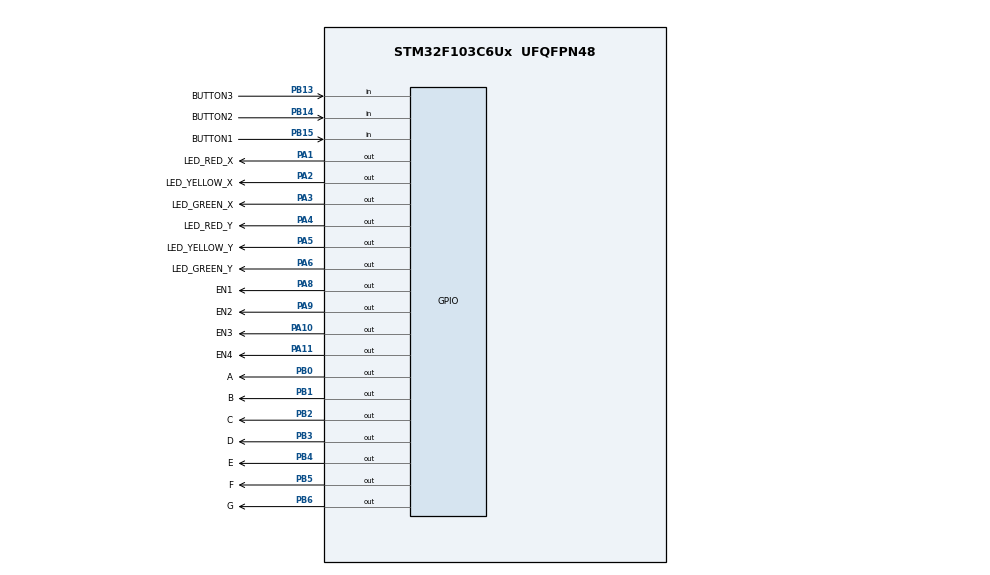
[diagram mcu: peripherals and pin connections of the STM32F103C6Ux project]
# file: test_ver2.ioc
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Mcu.Family=STM32F1
Mcu.Name=STM32F103C6Ux
Mcu.Package=UFQFPN48
NVIC.PriorityGroup=NVIC_PRIORITYGROUP_4
NVIC.TIM2_IRQn=true\:0\:0\:false\:false\:true\:true\:true
PA1.GPIO_Label=LED_RED_X
PA1.Signal=GPIO_Output
PA10.GPIO_Label=EN3
PA10.Signal=GPIO_Output
PA11.GPIO_Label=EN4
PA11.Signal=GPIO_Output
PA2.GPIO_Label=LED_YELLOW_X
PA2.Signal=GPIO_Output
PA3.GPIO_Label=LED_GREEN_X
PA3.Signal=GPIO_Output
PA4.GPIO_Label=LED_RED_Y
PA4.Signal=GPIO_Output
PA5.GPIO_Label=LED_YELLOW_Y
PA5.Signal=GPIO_Output
PA6.GPIO_Label=LED_GREEN_Y
PA6.Signal=GPIO_Output
PA8.GPIO_Label=EN1
PA8.Signal=GPIO_Output
PA9.GPIO_Label=EN2
PA9.Signal=GPIO_Output
PB0.GPIO_Label=A
PB0.Signal=GPIO_Output
PB1.GPIO_Label=B
PB1.Signal=GPIO_Output
PB13.GPIO_Label=BUTTON3
PB13.GPIO_PuPd=GPIO_PULLUP
PB13.Signal=GPIO_Input
PB14.GPIO_Label=BUTTON2
PB14.GPIO_PuPd=GPIO_PULLUP
PB14.Signal=GPIO_Input
PB15.GPIO_Label=BUTTON1
PB15.GPIO_PuPd=GPIO_PULLUP
PB15.Signal=GPIO_Input
PB2.GPIO_Label=C
PB2.Signal=GPIO_Output
PB3.GPIO_Label=D
PB3.Signal=GPIO_Output
PB4.GPIO_Label=E
PB4.Signal=GPIO_Output
PB5.GPIO_Label=F
PB5.Signal=GPIO_Output
PB6.GPIO_Label=G
PB6.Signal=GPIO_Output
ProjectManager.HeapSize=0x200
ProjectManager.StackSize=0x400
ProjectManager.TargetToolchain=STM32CubeIDE
RCC.APB1Freq_Value=8000000
RCC.APB2Freq_Value=8000000
TIM2.Period=10
TIM2.Prescaler=7999
VP_SYS_VS_ND.Mode=No_Debug
VP_TIM2_VS_ClockSourceINT.Mode=Internal
board=custom

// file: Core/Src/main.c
/* USER CODE BEGIN Header */
/**
  ******************************************************************************
  * @file           : main.c
  * @brief          : Main program body
  ******************************************************************************
  * @attention
  *
  * <h2><center>&copy; Copyright (c) 2022 STMicroelectronics.
  * All rights reserved.</center></h2>
  *
  * This software component is licensed by ST under BSD 3-Clause license,
  * the "License"; You may not use this file except in compliance with the
  * License. You may obtain a copy of the License at:
  *                        opensource.org/licenses/BSD-3-Clause
  *
  ******************************************************************************
  */
/* USER CODE END Header */
#include "main.h"

/* USER CODE BEGIN Includes */
#include "softwear.h"
#include "global.h"
#include "button.h"
#include "fsm_automatic.h"
/* USER CODE END Includes */

TIM_HandleTypeDef htim2;

void SystemClock_Config(void);
static void MX_GPIO_Init(void);
static void MX_TIM2_Init(void);

int main(void)
{

  /* MCU Configuration--------------------------------------------------------*/

  /* Reset of all peripherals, Initializes the Flash interface and the Systick. */
  HAL_Init();

  /* Configure the system clock */
  SystemClock_Config();

  /* Initialize all configured peripherals */
  MX_GPIO_Init();
  MX_TIM2_Init();
  /* USER CODE BEGIN 2 */
  HAL_TIM_Base_Start_IT (& htim2 ) ;
  /* USER CODE END 2 */

  /* Infinite loop */
  /* USER CODE BEGIN WHILE */
  status = INIT;
  setTimer3(50);
  int index = 0;
  HAL_GPIO_WritePin(EN1_GPIO_Port, EN1_Pin, RESET);
  HAL_GPIO_WritePin(EN2_GPIO_Port, EN2_Pin, SET);
  HAL_GPIO_WritePin(EN3_GPIO_Port, EN3_Pin, SET);
  HAL_GPIO_WritePin(EN4_GPIO_Port, EN4_Pin, SET);
  while (1)
  {
	  fsm_automatic_run();
	  if(timer3_flag == 1){
		  update7SEG(index++);
		  if(index >= 4){
			  index = 0;
		  }
		  setTimer3(50);
	  }
    /* USER CODE END WHILE */

  }
}

void SystemClock_Config(void)
{
  RCC_OscInitTypeDef RCC_OscInitStruct = {0};
  RCC_ClkInitTypeDef RCC_ClkInitStruct = {0};

  /** Initializes the RCC Oscillators according to the specified parameters
  * in the RCC_OscInitTypeDef structure.
  */
  RCC_OscInitStruct.OscillatorType = RCC_OSCILLATORTYPE_HSI;
  RCC_OscInitStruct.HSIState = RCC_HSI_ON;
  RCC_OscInitStruct.HSICalibrationValue = RCC_HSICALIBRATION_DEFAULT;
  RCC_OscInitStruct.PLL.PLLState = RCC_PLL_NONE;
  if (HAL_RCC_OscConfig(&RCC_OscInitStruct) != HAL_OK)
  {
    Error_Handler();
  }
  /** Initializes the CPU, AHB and APB buses clocks
  */
  RCC_ClkInitStruct.ClockType = RCC_CLOCKTYPE_HCLK|RCC_CLOCKTYPE_SYSCLK
                              |RCC_CLOCKTYPE_PCLK1|RCC_CLOCKTYPE_PCLK2;
  RCC_ClkInitStruct.SYSCLKSource = RCC_SYSCLKSOURCE_HSI;
  RCC_ClkInitStruct.AHBCLKDivider = RCC_SYSCLK_DIV1;
  RCC_ClkInitStruct.APB1CLKDivider = RCC_HCLK_DIV1;
  RCC_ClkInitStruct.APB2CLKDivider = RCC_HCLK_DIV1;

  if (HAL_RCC_ClockConfig(&RCC_ClkInitStruct, FLASH_LATENCY_0) != HAL_OK)
  {
    Error_Handler();
  }
}

static void MX_TIM2_Init(void)
{

  TIM_ClockConfigTypeDef sClockSourceConfig = {0};
  TIM_MasterConfigTypeDef sMasterConfig = {0};

  htim2.Instance = TIM2;
  htim2.Init.Prescaler = 7999;
  htim2.Init.CounterMode = TIM_COUNTERMODE_UP;
  htim2.Init.Period = 10;
  htim2.Init.ClockDivision = TIM_CLOCKDIVISION_DIV1;
  htim2.Init.AutoReloadPreload = TIM_AUTORELOAD_PRELOAD_DISABLE;
  if (HAL_TIM_Base_Init(&htim2) != HAL_OK)
  {
    Error_Handler();
  }
  sClockSourceConfig.ClockSource = TIM_CLOCKSOURCE_INTERNAL;
  if (HAL_TIM_ConfigClockSource(&htim2, &sClockSourceConfig) != HAL_OK)
  {
    Error_Handler();
  }
  sMasterConfig.MasterOutputTrigger = TIM_TRGO_RESET;
  sMasterConfig.MasterSlaveMode = TIM_MASTERSLAVEMODE_DISABLE;
  if (HAL_TIMEx_MasterConfigSynchronization(&htim2, &sMasterConfig) != HAL_OK)
  {
    Error_Handler();
  }

}

static void MX_GPIO_Init(void)
{
  GPIO_InitTypeDef GPIO_InitStruct = {0};

  /* GPIO Ports Clock Enable */
  __HAL_RCC_GPIOA_CLK_ENABLE();
  __HAL_RCC_GPIOB_CLK_ENABLE();

  /*Configure GPIO pin Output Level */
  HAL_GPIO_WritePin(GPIOA, LED_RED_X_Pin|LED_YELLOW_X_Pin|LED_GREEN_X_Pin|LED_RED_Y_Pin
                          |LED_YELLOW_Y_Pin|LED_GREEN_Y_Pin|EN1_Pin|EN2_Pin
                          |EN3_Pin|EN4_Pin, GPIO_PIN_RESET);

  /*Configure GPIO pin Output Level */
  HAL_GPIO_WritePin(GPIOB, A_Pin|B_Pin|C_Pin|D_Pin
                          |E_Pin|F_Pin|G_Pin, GPIO_PIN_RESET);

  /*Configure GPIO pins : LED_RED_X_Pin LED_YELLOW_X_Pin LED_GREEN_X_Pin LED_RED_Y_Pin
                           LED_YELLOW_Y_Pin LED_GREEN_Y_Pin EN1_Pin EN2_Pin
                           EN3_Pin EN4_Pin */
  GPIO_InitStruct.Pin = LED_RED_X_Pin|LED_YELLOW_X_Pin|LED_GREEN_X_Pin|LED_RED_Y_Pin
                          |LED_YELLOW_Y_Pin|LED_GREEN_Y_Pin|EN1_Pin|EN2_Pin
                          |EN3_Pin|EN4_Pin;
  GPIO_InitStruct.Mode = GPIO_MODE_OUTPUT_PP;
  GPIO_InitStruct.Pull = GPIO_NOPULL;
  GPIO_InitStruct.Speed = GPIO_SPEED_FREQ_LOW;
  HAL_GPIO_Init(GPIOA, &GPIO_InitStruct);

  /*Configure GPIO pins : A_Pin B_Pin C_Pin D_Pin
                           E_Pin F_Pin G_Pin */
  GPIO_InitStruct.Pin = A_Pin|B_Pin|C_Pin|D_Pin
                          |E_Pin|F_Pin|G_Pin;
  GPIO_InitStruct.Mode = GPIO_MODE_OUTPUT_PP;
  GPIO_InitStruct.Pull = GPIO_NOPULL;
  GPIO_InitStruct.Speed = GPIO_SPEED_FREQ_LOW;
  HAL_GPIO_Init(GPIOB, &GPIO_InitStruct);

  /*Configure GPIO pins : BUTTON3_Pin BUTTON2_Pin BUTTON1_Pin */
  GPIO_InitStruct.Pin = BUTTON3_Pin|BUTTON2_Pin|BUTTON1_Pin;
  GPIO_InitStruct.Mode = GPIO_MODE_INPUT;
  GPIO_InitStruct.Pull = GPIO_PULLUP;
  HAL_GPIO_Init(GPIOB, &GPIO_InitStruct);

}

/* USER CODE BEGIN 4 */
void HAL_TIM_PeriodElapsedCallback ( TIM_HandleTypeDef * htim )
{
	timerRun();
	getKeyInput();
}
/* USER CODE END 4 */

void Error_Handler(void)
{
  __disable_irq();
  while (1)
  {
  }
}

/************************ (C) COPYRIGHT STMicroelectronics *****END OF FILE****/
